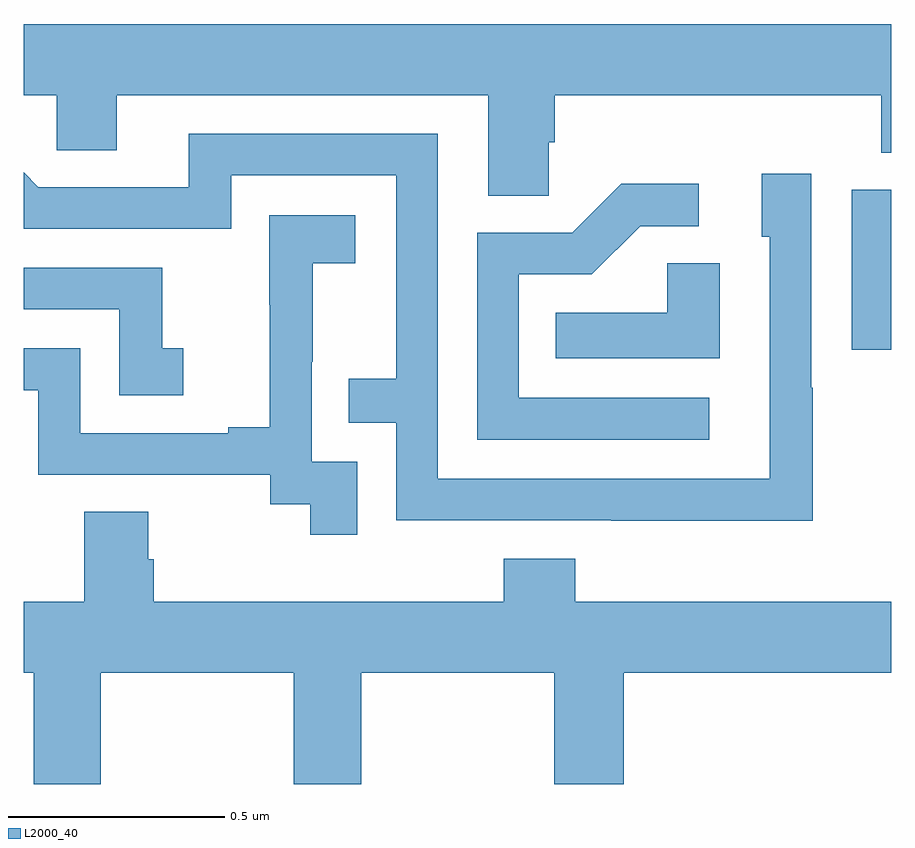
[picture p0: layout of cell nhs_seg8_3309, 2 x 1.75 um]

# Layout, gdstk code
import gdstk
lib = gdstk.Library(unit=1e-6, precision=1e-09)
def R(c, l, rs):  # rectangles x0, y0, x1, y1
    for r in rs: c.add(gdstk.rectangle(r[:2], r[2:], *l))
def P(c, l, *ps):  # polygons
    for p in ps: c.add(gdstk.Polygon(p, *l))
L2000_40 = (2000, 40)

nhs_seg8_3309 = lib.new_cell('nhs_seg8_3309')
R(nhs_seg8_3309, L2000_40, [(156.909,1127.901,157,1128.27)])
P(nhs_seg8_3309, L2000_40, [(156.21,1128.379),(156.224,1128.379),(156.224,1128.488),(156.977,1128.488),(156.977,1128.355),(157,1128.355),(157,1128.652),(155,1128.652),(155,1128.488),(155.076,1128.488),(155.076,1128.361),(155.215,1128.361),(155.215,1128.488),(156.071,1128.488),(156.071,1128.256),(156.21,1128.256)],
  [(156.819,1127.813),(156.816,1127.813),(156.816,1128.307),(156.701,1128.307),(156.701,1128.162),(156.72,1128.162),(156.72,1127.604),(155.955,1127.604),(155.955,1128.399),(155.381,1128.399),(155.381,1128.276),(155.034,1128.276),(155,1128.31),(155,1128.18),(155.478,1128.18),(155.478,1128.303),(155.859,1128.303),(155.859,1127.834),(155.749,1127.834),(155.749,1127.733),(155.859,1127.733),(155.859,1127.508),(156.355,1127.508),(156.355,1127.507),(156.819,1127.507)],
  [(156.58,1127.79),(156.141,1127.79),(156.141,1128.075),(156.31,1128.075),(156.421,1128.186),(156.556,1128.186),(156.556,1128.284),(156.377,1128.284),(156.264,1128.171),(156.045,1128.171),(156.045,1127.694),(156.58,1127.694)],
  [(155.769,1127.643),(155.664,1127.643),(155.664,1127.873),(155.666,1127.873),(155.666,1128.101),(155.764,1128.101),(155.764,1128.211),(155.566,1128.211),(155.566,1128.005),(155.567,1128.005),(155.567,1127.722),(155.471,1127.722),(155.471,1127.709),(155.13,1127.709),(155.13,1127.904),(155,1127.904),(155,1127.808),(155.034,1127.808),(155.034,1127.613),(155.568,1127.613),(155.568,1127.545),(155.661,1127.545),(155.661,1127.475),(155.769,1127.475)],
  [(156.604,1128.101),(156.483,1128.101),(156.483,1127.986),(156.226,1127.986),(156.226,1127.882),(156.604,1127.882)],
  [(155.368,1127.905),(155.319,1127.905),(155.319,1128.09),(155,1128.09),(155,1127.994),(155.22,1127.994),(155.22,1127.796),(155.368,1127.796)],
  [(155.178,1127.156),(155.623,1127.156),(155.623,1126.9),(155.778,1126.9),(155.778,1127.156),(156.223,1127.156),(156.223,1126.9),(156.383,1126.9),(156.383,1127.156),(157,1127.156),(157,1127.32),(156.272,1127.32),(156.272,1127.419),(156.107,1127.419),(156.107,1127.32),(155.3,1127.32),(155.3,1127.418),(155.287,1127.418),(155.287,1127.528),(155.14,1127.528),(155.14,1127.32),(155,1127.32),(155,1127.156),(155.023,1127.156),(155.023,1126.9),(155.178,1126.9)])

lib.write_gds('nhs_seg8_3309.gds')
